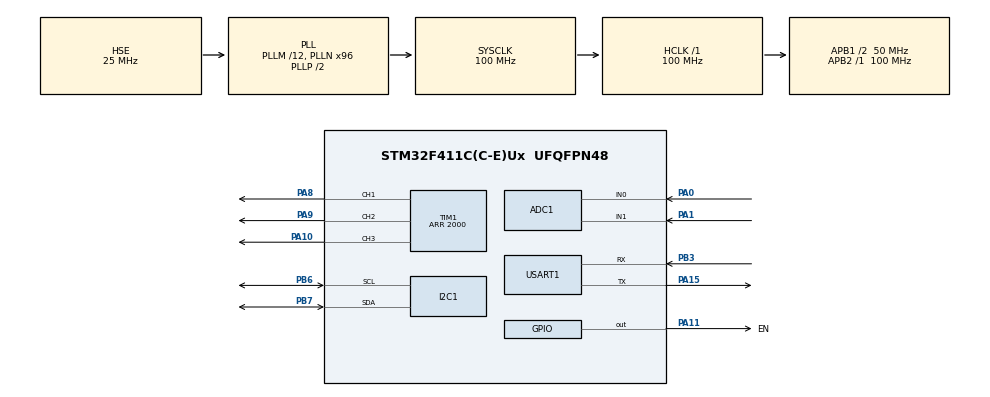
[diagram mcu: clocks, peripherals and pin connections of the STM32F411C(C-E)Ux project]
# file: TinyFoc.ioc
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ADC1.Channel-0\#ChannelRegularConversion=ADC_CHANNEL_0
ADC1.Channel-1\#ChannelInjectedConversion=ADC_CHANNEL_0
ADC1.Channel-2\#ChannelInjectedConversion=ADC_CHANNEL_1
ADC1.ContinuousConvMode=ENABLE
ADC1.ExternalTrigInjecConv=ADC_EXTERNALTRIGINJECCONV_T1_TRGO
ADC1.InjNumberOfConversion=2
ADC1.InjectedOffset-1\#ChannelInjectedConversion=0
ADC1.InjectedOffset-2\#ChannelInjectedConversion=0
ADC1.InjectedRank-1\#ChannelInjectedConversion=1
ADC1.InjectedRank-2\#ChannelInjectedConversion=2
ADC1.NbrOfConversion=1
ADC1.NbrOfConversionFlag=1
ADC1.Rank-0\#ChannelRegularConversion=1
ADC1.SamplingTime-0\#ChannelRegularConversion=ADC_SAMPLETIME_3CYCLES
ADC1.SamplingTime-1\#ChannelInjectedConversion=ADC_SAMPLETIME_3CYCLES
ADC1.SamplingTime-2\#ChannelInjectedConversion=ADC_SAMPLETIME_3CYCLES
ADC1.master=1
Dma.Request0=USART1_RX
Dma.USART1_RX.0.Direction=DMA_PERIPH_TO_MEMORY
Dma.USART1_RX.0.FIFOMode=DMA_FIFOMODE_DISABLE
Dma.USART1_RX.0.Instance=DMA2_Stream2
Dma.USART1_RX.0.MemDataAlignment=DMA_MDATAALIGN_BYTE
Dma.USART1_RX.0.MemInc=DMA_MINC_ENABLE
Dma.USART1_RX.0.Mode=DMA_NORMAL
Dma.USART1_RX.0.PeriphDataAlignment=DMA_PDATAALIGN_BYTE
Dma.USART1_RX.0.PeriphInc=DMA_PINC_DISABLE
Dma.USART1_RX.0.Priority=DMA_PRIORITY_LOW
I2C1.I2C_Mode=I2C_Fast
Mcu.Family=STM32F4
Mcu.Name=STM32F411C(C-E)Ux
Mcu.Package=UFQFPN48
NVIC.ADC_IRQn=true\:0\:0\:false\:false\:true\:true\:true\:true
NVIC.DMA2_Stream2_IRQn=true\:0\:0\:false\:false\:true\:false\:true\:true
NVIC.PriorityGroup=NVIC_PRIORITYGROUP_4
NVIC.TIM2_IRQn=true\:0\:0\:false\:false\:true\:true\:true\:true
NVIC.USART1_IRQn=true\:0\:0\:false\:false\:true\:true\:true\:true
PA0-WKUP.Signal=ADCx_IN0
PA1.Signal=ADCx_IN1
PA10.Signal=S_TIM1_CH3
PA11.GPIO_Label=EN
PA11.GPIO_PuPd=GPIO_PULLUP
PA11.PinState=GPIO_PIN_SET
PA11.Signal=GPIO_Output
PA13.Mode=Serial_Wire
PA13.Signal=SYS_JTMS-SWDIO
PA14.Mode=Serial_Wire
PA14.Signal=SYS_JTCK-SWCLK
PA15.Mode=Asynchronous
PA15.Signal=USART1_TX
PA8.Signal=S_TIM1_CH1
PA9.Signal=S_TIM1_CH2
PB3.Mode=Asynchronous
PB3.Signal=USART1_RX
PB6.Mode=I2C
PB6.Signal=I2C1_SCL
PB7.Mode=I2C
PB7.Signal=I2C1_SDA
PH0\ -\ OSC_IN.Mode=HSE-External-Oscillator
PH0\ -\ OSC_IN.Signal=RCC_OSC_IN
PH1\ -\ OSC_OUT.Mode=HSE-External-Oscillator
PH1\ -\ OSC_OUT.Signal=RCC_OSC_OUT
ProjectManager.HeapSize=0x200
ProjectManager.StackSize=0x400
ProjectManager.TargetToolchain=MDK-ARM V5.32
RCC.48MHZClocksFreq_Value=50000000
RCC.AHBFreq_Value=100000000
RCC.APB1CLKDivider=RCC_HCLK_DIV2
RCC.APB1Freq_Value=50000000
RCC.APB1TimFreq_Value=100000000
RCC.APB2Freq_Value=100000000
RCC.APB2TimFreq_Value=100000000
RCC.CortexFreq_Value=100000000
RCC.HCLKFreq_Value=100000000
RCC.HSE_VALUE=25000000
RCC.HSI_VALUE=16000000
RCC.LSE_VALUE=32768
RCC.PLLM=12
RCC.PLLN=96
RCC.PLLSourceVirtual=RCC_PLLSOURCE_HSE
RCC.SYSCLKFreq_VALUE=100000000
RCC.SYSCLKSource=RCC_SYSCLKSOURCE_PLLCLK
RCC.VCOOutputFreq_Value=200000000
SH.ADCx_IN0.0=ADC1_IN0,IN0
SH.ADCx_IN1.0=ADC1_IN1,IN1
SH.S_TIM1_CH1.0=TIM1_CH1,PWM Generation1 CH1
SH.S_TIM1_CH2.0=TIM1_CH2,PWM Generation2 CH2
SH.S_TIM1_CH3.0=TIM1_CH3,PWM Generation3 CH3
STMicroelectronics.X-CUBE-ALGOBUILD.1.4.0.LibraryCcDSPOoLibraryJjDSPOoLibrary=true
TIM1.Channel-PWM\ Generation1\ CH1=TIM_CHANNEL_1
TIM1.Channel-PWM\ Generation2\ CH2=TIM_CHANNEL_2
TIM1.Channel-PWM\ Generation3\ CH3=TIM_CHANNEL_3
TIM1.CounterMode=TIM_COUNTERMODE_CENTERALIGNED3
TIM1.OCMode_PWM-PWM\ Generation1\ CH1=TIM_OCMODE_PWM1
TIM1.Period=2000
TIM1.RepetitionCounter=4
TIM1.TIM_MasterOutputTrigger=TIM_TRGO_UPDATE
TIM2.Period=1000-1
TIM2.Prescaler=100-1
USART1.VirtualMode=VM_ASYNC
VP_STMicroelectronics.X-CUBE-ALGOBUILD_VS_DSPOoLibraryJjLibrary_1.4.0_1.4.0.Mode=DSPOoLibraryJjLibrary
VP_TIM1_VS_ClockSourceINT.Mode=Internal
VP_TIM2_VS_ClockSourceINT.Mode=Internal
board=custom

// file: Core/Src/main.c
/* USER CODE BEGIN Header */
/**
  ******************************************************************************
  * @file           : main.c
  * @brief          : Main program body
  ******************************************************************************
  * @attention
  *
  * Copyright (c) 2025 STMicroelectronics.
  * All rights reserved.
  *
  * This software is licensed under terms that can be found in the LICENSE file
  * in the root directory of this software component.
  * If no LICENSE file comes with this software, it is provided AS-IS.
  *
  ******************************************************************************
  */
/* USER CODE END Header */
#include "main.h"
#include "adc.h"
#include "dma.h"
#include "i2c.h"
#include "tim.h"
#include "usart.h"
#include "gpio.h"

/* USER CODE BEGIN Includes */

#include "stdio.h"
#include "vofa.h"
#include "as5600.h"
#include "pid.h"
#include "sample.h"
#include "utils.h"
#include "foc.h"
#include "vofa.h"

/* USER CODE END Includes */

/* USER CODE BEGIN PV */

volatile uint32_t RunCycle = 10; // 主循环任务运行周期 单位: ms

/* USER CODE END PV */

void SystemClock_Config(void);

/* USER CODE BEGIN 0 */

/* 串口重定向 */
int fputc(int ch, FILE *f) {
	HAL_UART_Transmit(&huart1, (uint8_t *)&ch, 1, HAL_MAX_DELAY);
	return ch;
}

/* USER CODE END 0 */

int main(void)
{

  /* MCU Configuration--------------------------------------------------------*/

  /* Reset of all peripherals, Initializes the Flash interface and the Systick. */
  HAL_Init();

  /* Configure the system clock */
  SystemClock_Config();

  /* Initialize all configured peripherals */
  MX_GPIO_Init();
  MX_DMA_Init();
  MX_ADC1_Init();
  MX_I2C1_Init();
  MX_TIM1_Init();
  MX_USART1_UART_Init();
  MX_TIM2_Init();
  /* USER CODE BEGIN 2 */

  // 初始化三角函数查表
  fast_trig_init();
  // 启动ADC的注入转换
  if (HAL_ADCEx_InjectedStart_IT(&hadc1) != HAL_OK)
  {
    printf("ADC Start Error!");
    Error_Handler();
  }
  // 开启定时器触发ADC采样
  HAL_TIM_Base_Start(&htim1);
  // 计算ADC偏置
  ADC_Calibration(1000);
  // 初始化编码器
  AS5600_Init(&AngleSensor, &hi2c1);
  // 初始化DWT
  DWT_Init();
  // 启动串口调试
  HAL_UARTEx_ReceiveToIdle_DMA(&huart1, rx_buffer, RX_BUFFER_SIZE);
  // 开启三相PWM输出
  HAL_TIM_PWM_Start(&htim1, TIM_CHANNEL_1);
  HAL_TIM_PWM_Start(&htim1, TIM_CHANNEL_2);
  HAL_TIM_PWM_Start(&htim1, TIM_CHANNEL_3);
  // 传感器对齐
  foc_alignSensor(3);
  // 开启周期定时器PIT
  HAL_TIM_Base_Start_IT(&htim2);
  // 电机参数初始化
  motor_control_parm_init();
  motor_pid_init(2.0f, 20.0f, 0.1f, 1.0f, 1.5f);
  set_motor_mode(MOTOR_TORQUE);
  // 开启电流闭环控制
  current_loop_enable = 1;

  /* USER CODE END 2 */

  /* Infinite loop */
  /* USER CODE BEGIN WHILE */
  while (1)
  {
    if(uwTick - RunCycle >= 10) {
      RunCycle = uwTick;
      // 处理上位机下发的数据
      UpperUartTask();
#if 1   // 电流环调试
      printf("%.2f\n", motor_control.iq_meas);
      motor_control.set_torque = testValue;
#elif 0 // 速度环调试
      motor_control.set_vel = testValue;
      printf("%.2f\n", AS5600_GetVelocity(&AngleSensor));
#elif 0 // 位置环调试
      motor_control.set_pos = testValue;
      printf("%.2f\n", AS5600_GetAccumulateAngle(&AngleSensor));
#endif
      // printf("%.5f,%.5f,%.5f\n",motor_control.IphA,motor_control.IphB,motor_control.IphC); // 打印三相电流
    }

    /* USER CODE END WHILE */

  }
}

void SystemClock_Config(void)
{
  RCC_OscInitTypeDef RCC_OscInitStruct = {0};
  RCC_ClkInitTypeDef RCC_ClkInitStruct = {0};

  /** Configure the main internal regulator output voltage
  */
  __HAL_RCC_PWR_CLK_ENABLE();
  __HAL_PWR_VOLTAGESCALING_CONFIG(PWR_REGULATOR_VOLTAGE_SCALE1);

  /** Initializes the RCC Oscillators according to the specified parameters
  * in the RCC_OscInitTypeDef structure.
  */
  RCC_OscInitStruct.OscillatorType = RCC_OSCILLATORTYPE_HSE;
  RCC_OscInitStruct.HSEState = RCC_HSE_ON;
  RCC_OscInitStruct.PLL.PLLState = RCC_PLL_ON;
  RCC_OscInitStruct.PLL.PLLSource = RCC_PLLSOURCE_HSE;
  RCC_OscInitStruct.PLL.PLLM = 12;
  RCC_OscInitStruct.PLL.PLLN = 96;
  RCC_OscInitStruct.PLL.PLLP = RCC_PLLP_DIV2;
  RCC_OscInitStruct.PLL.PLLQ = 4;
  if (HAL_RCC_OscConfig(&RCC_OscInitStruct) != HAL_OK)
  {
    Error_Handler();
  }

  /** Initializes the CPU, AHB and APB buses clocks
  */
  RCC_ClkInitStruct.ClockType = RCC_CLOCKTYPE_HCLK|RCC_CLOCKTYPE_SYSCLK
                              |RCC_CLOCKTYPE_PCLK1|RCC_CLOCKTYPE_PCLK2;
  RCC_ClkInitStruct.SYSCLKSource = RCC_SYSCLKSOURCE_PLLCLK;
  RCC_ClkInitStruct.AHBCLKDivider = RCC_SYSCLK_DIV1;
  RCC_ClkInitStruct.APB1CLKDivider = RCC_HCLK_DIV2;
  RCC_ClkInitStruct.APB2CLKDivider = RCC_HCLK_DIV1;

  if (HAL_RCC_ClockConfig(&RCC_ClkInitStruct, FLASH_LATENCY_3) != HAL_OK)
  {
    Error_Handler();
  }
}

void Error_Handler(void)
{
  __disable_irq();
  while (1)
  {
  }
}
